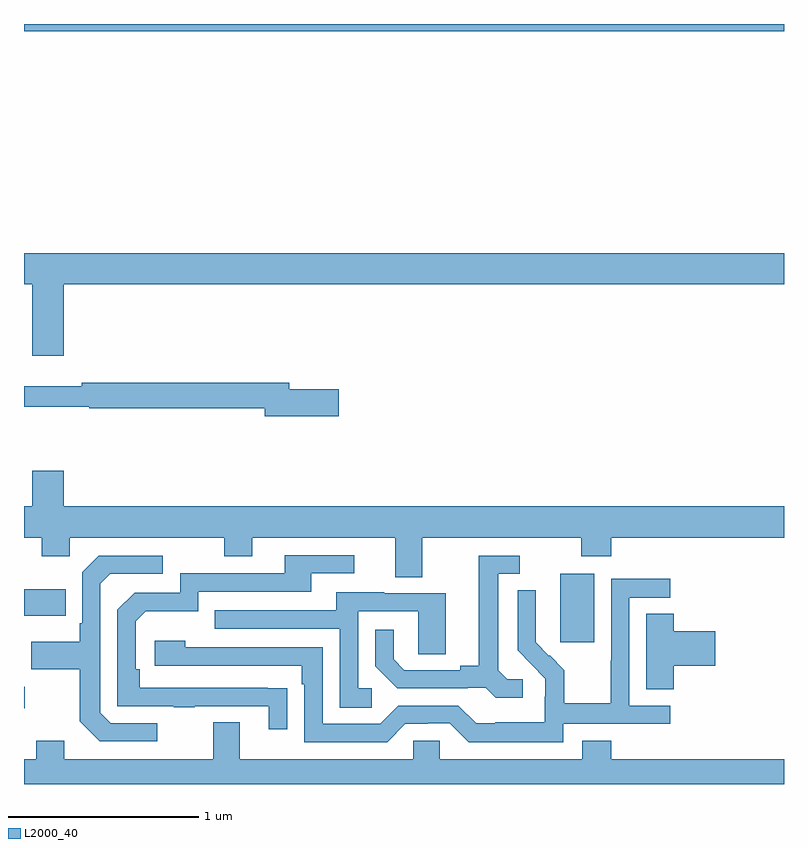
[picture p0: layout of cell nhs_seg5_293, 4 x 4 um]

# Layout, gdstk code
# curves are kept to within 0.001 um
import gdstk
lib = gdstk.Library(unit=1e-6, precision=1e-09)
def R(c, l, rs):  # rectangles x0, y0, x1, y1
    for r in rs: c.add(gdstk.rectangle(r[:2], r[2:], *l))
def P(c, l, *ps):  # polygons
    for p in ps: c.add(gdstk.Polygon(p, *l))
L2000_40 = (2000, 40)

nhs_seg5_293 = lib.new_cell('nhs_seg5_293')
R(nhs_seg5_293, L2000_40, [(129,853.197,129.004,853.31), (131.822,853.545,132.001,853.906), (129,853.685,129.221,853.825), (129,856.76,133,856.799)])
P(nhs_seg5_293, L2000_40, [(129.208,855.428),(133,855.428),(133,855.592),(129,855.592),(129,855.428),(129.044,855.428),(129.044,855.054),(129.208,855.054)],
  [(130.657,854.876),(130.396,854.876),(130.396,854.912),(129.304,854.912),(129.304,854.893),(129,854.893),(129,854.784),(129.343,854.784),(129.343,854.776),(130.268,854.776),(130.268,854.734),(130.657,854.734)],
  [(131.095,854.096),(131.932,854.096),(131.932,853.997),(132.092,853.997),(132.092,854.096),(133,854.096),(133,854.26),(129.208,854.26),(129.208,854.449),(129.044,854.449),(129.044,854.26),(129,854.26),(129,854.096),(129.094,854.096),(129.094,853.997),(129.24,853.997),(129.24,854.096),(130.054,854.096),(130.054,853.997),(130.201,853.997),(130.201,854.096),(130.955,854.096),(130.955,853.888),(131.095,853.888)],
  [(130.385,853.304),(129.608,853.305),(129.608,853.402),(129.588,853.402),(129.588,853.656),(129.641,853.709),(129.918,853.709),(129.918,853.812),(130.513,853.812),(130.513,853.908),(130.738,853.908),(130.738,854.004),(130.373,854.004),(130.373,853.908),(129.822,853.908),(129.822,853.806),(129.582,853.806),(129.492,853.716),(129.492,853.209),(129.787,853.209),(129.787,853.204),(129.899,853.204),(129.899,853.209),(130.289,853.209),(130.289,853.086),(130.385,853.086)],
  [(131.626,853.35),(131.544,853.35),(131.497,853.397),(131.497,853.905),(131.608,853.905),(131.608,854.001),(131.393,854.001),(131.393,853.421),(131.297,853.421),(131.297,853.398),(131.002,853.398),(130.945,853.455),(130.945,853.612),(130.848,853.612),(130.848,853.418),(130.964,853.302),(131.336,853.302),(131.336,853.305),(131.43,853.305),(131.482,853.253),(131.626,853.253)],
  [(129.7,853.119),(129.456,853.119),(129.402,853.173),(129.402,853.854),(129.453,853.905),(129.73,853.905),(129.73,854.001),(129.393,854.001),(129.306,853.914),(129.306,853.645),(129.294,853.645),(129.294,853.549),(129.037,853.549),(129.037,853.402),(129.294,853.402),(129.294,853.129),(129.399,853.023),(129.7,853.023)],
  [(131.838,853.116),(132.4,853.116),(132.4,853.212),(132.186,853.212),(132.186,853.779),(132.4,853.779),(132.4,853.878),(132.09,853.878),(132.09,853.448),(132.088,853.448),(132.088,853.225),(131.843,853.225),(131.843,853.399),(131.766,853.476),(131.763,853.473),(131.693,853.544),(131.694,853.82),(131.598,853.82),(131.598,853.502),(131.744,853.354),(131.744,853.257),(131.742,853.257),(131.742,853.123),(131.479,853.123),(131.479,853.119),(131.379,853.119),(131.286,853.212),(130.971,853.212),(130.875,853.116),(130.572,853.116),(130.572,853.518),(129.848,853.518),(129.848,853.552),(129.687,853.552),(129.687,853.422),(130.463,853.422),(130.463,853.325),(130.476,853.325),(130.476,853.02),(130.911,853.02),(131.007,853.116),(131.126,853.116),(131.126,853.119),(131.241,853.119),(131.341,853.019),(131.838,853.019)],
  [(130.831,853.302),(130.758,853.302),(130.758,853.707),(131.076,853.707),(131.076,853.483),(131.221,853.483),(131.221,853.803),(130.897,853.803),(130.897,853.807),(130.643,853.807),(130.643,853.713),(130.003,853.713),(130.003,853.617),(130.662,853.617),(130.662,853.201),(130.831,853.201)],
  [(132.419,853.421),(132.637,853.421),(132.637,853.604),(132.419,853.604),(132.419,853.694),(132.275,853.694),(132.275,853.297),(132.419,853.297)],
  [(129.064,852.928),(129,852.928),(129,852.799),(133,852.799),(133,852.928),(132.092,852.928),(132.092,853.027),(131.939,853.027),(131.939,852.928),(131.187,852.928),(131.187,853.026),(131.049,853.026),(131.049,852.928),(130.135,852.928),(130.135,853.123),(129.995,853.123),(129.995,852.928),(129.211,852.928),(129.211,853.027),(129.064,853.027)])

lib.write_gds('nhs_seg5_293.gds')
